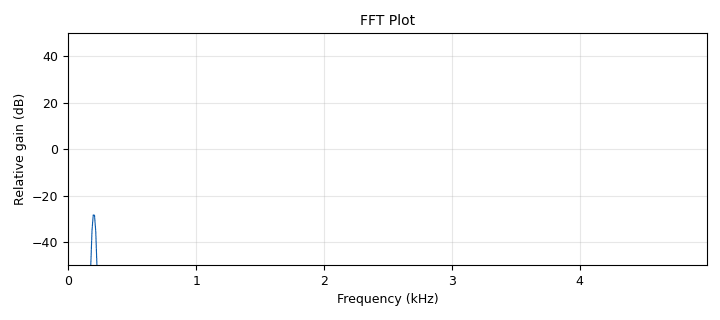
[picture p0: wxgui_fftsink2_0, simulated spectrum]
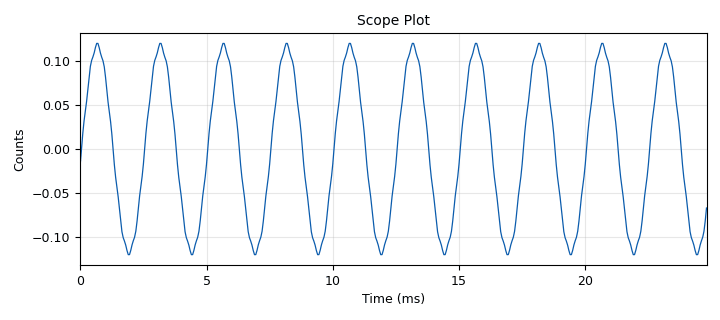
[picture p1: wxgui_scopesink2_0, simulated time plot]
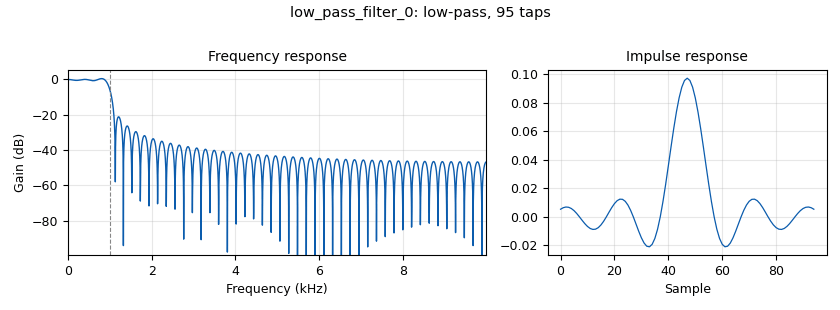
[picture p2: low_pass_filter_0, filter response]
<?xml version='1.0' encoding='utf-8'?>
<flow_graph>
<block>
<key>options</key>
<param><key>id</key><value>top_block</value></param>
<param><key>generate_options</key><value>wx_gui</value></param>
<param><key>category</key><value>Custom</value></param>
</block>
<block>
<key>notebook</key>
<param><key>id</key><value>notebook_0</value></param>
<param><key>style</key><value>wx.NB_TOP</value></param>
<param><key>labels</key><value>['tab1', 'tab2', 'tab3', 'tab4', 'tab5']</value></param>
</block>
<block>
<key>gr_throttle</key>
<param><key>id</key><value>gr_throttle_0</value></param>
<param><key>type</key><value>float</value></param>
<param><key>samples_per_second</key><value>samp_rate</value></param>
<param><key>vlen</key><value>1</value></param>
</block>
<block>
<key>gr_multiply_xx</key>
<param><key>id</key><value>gr_multiply_xx_0</value></param>
<param><key>type</key><value>float</value></param>
<param><key>num_inputs</key><value>2</value></param>
<param><key>vlen</key><value>1</value></param>
</block>
<block>
<key>gr_sig_source_x</key>
<param><key>id</key><value>gr_sig_source_x_1</value></param>
<param><key>type</key><value>float</value></param>
<param><key>samp_rate</key><value>samp_rate</value></param>
<param><key>waveform</key><value>gr.GR_COS_WAVE</value></param>
<param><key>freq</key><value>800</value></param>
<param><key>amp</key><value>0.5</value></param>
<param><key>offset</key><value>0</value></param>
</block>
<block>
<key>gr_sig_source_x</key>
<param><key>id</key><value>gr_sig_source_x_0</value></param>
<param><key>type</key><value>float</value></param>
<param><key>samp_rate</key><value>samp_rate</value></param>
<param><key>waveform</key><value>gr.GR_COS_WAVE</value></param>
<param><key>freq</key><value>1000</value></param>
<param><key>amp</key><value>0.5</value></param>
<param><key>offset</key><value>0</value></param>
</block>
<block>
<key>variable</key>
<param><key>id</key><value>samp_rate</value></param>
<param><key>value</key><value>20000</value></param>
</block>
<block>
<key>low_pass_filter</key>
<param><key>id</key><value>low_pass_filter_0</value></param>
<param><key>type</key><value>fir_filter_fff</value></param>
<param><key>decim</key><value>2</value></param>
<param><key>gain</key><value>1</value></param>
<param><key>samp_rate</key><value>samp_rate</value></param>
<param><key>cutoff_freq</key><value>1000</value></param>
<param><key>width</key><value>200</value></param>
<param><key>win</key><value>firdes.WIN_RECTANGULAR</value></param>
</block>
<block>
<key>wxgui_fftsink2</key>
<param><key>id</key><value>wxgui_fftsink2_0</value></param>
<param><key>type</key><value>float</value></param>
<param><key>title</key><value>FFT Plot</value></param>
<param><key>samp_rate</key><value>samp_rate/2</value></param>
<param><key>baseband_freq</key><value>0</value></param>
<param><key>y_per_div</key><value>10</value></param>
<param><key>y_divs</key><value>10</value></param>
<param><key>ref_level</key><value>50</value></param>
<param><key>ref_scale</key><value>2.0</value></param>
<param><key>fft_size</key><value>1024</value></param>
<param><key>fft_rate</key><value>15</value></param>
<param><key>peak_hold</key><value>False</value></param>
<param><key>average</key><value>False</value></param>
<param><key>avg_alpha</key><value>0</value></param>
<param><key>win</key><value>None</value></param>
<param><key>notebook</key><value>notebook_0,0</value></param>
<param><key>freqvar</key><value>None</value></param>
</block>
<block>
<key>wxgui_scopesink2</key>
<param><key>id</key><value>wxgui_scopesink2_0</value></param>
<param><key>type</key><value>float</value></param>
<param><key>title</key><value>Scope Plot</value></param>
<param><key>samp_rate</key><value>samp_rate</value></param>
<param><key>v_scale</key><value>0</value></param>
<param><key>v_offset</key><value>0</value></param>
<param><key>t_scale</key><value>0</value></param>
<param><key>ac_couple</key><value>False</value></param>
<param><key>xy_mode</key><value>False</value></param>
<param><key>num_inputs</key><value>1</value></param>
<param><key>notebook</key><value>notebook_0,1</value></param>
<param><key>trig_mode</key><value>gr.gr_TRIG_MODE_AUTO</value></param>
<param><key>y_axis_label</key><value>Counts</value></param>
</block>
<connection><source_block_id>gr_throttle_0</source_block_id><sink_block_id>wxgui_scopesink2_0</sink_block_id><source_key>0</source_key><sink_key>0</sink_key></connection>
<connection><source_block_id>low_pass_filter_0</source_block_id><sink_block_id>gr_throttle_0</sink_block_id><source_key>0</source_key><sink_key>0</sink_key></connection>
<connection><source_block_id>gr_multiply_xx_0</source_block_id><sink_block_id>low_pass_filter_0</sink_block_id><source_key>0</source_key><sink_key>0</sink_key></connection>
<connection><source_block_id>gr_throttle_0</source_block_id><sink_block_id>wxgui_fftsink2_0</sink_block_id><source_key>0</source_key><sink_key>0</sink_key></connection>
<connection><source_block_id>gr_sig_source_x_1</source_block_id><sink_block_id>gr_multiply_xx_0</sink_block_id><source_key>0</source_key><sink_key>1</sink_key></connection>
<connection><source_block_id>gr_sig_source_x_0</source_block_id><sink_block_id>gr_multiply_xx_0</sink_block_id><source_key>0</source_key><sink_key>0</sink_key></connection>
</flow_graph>
